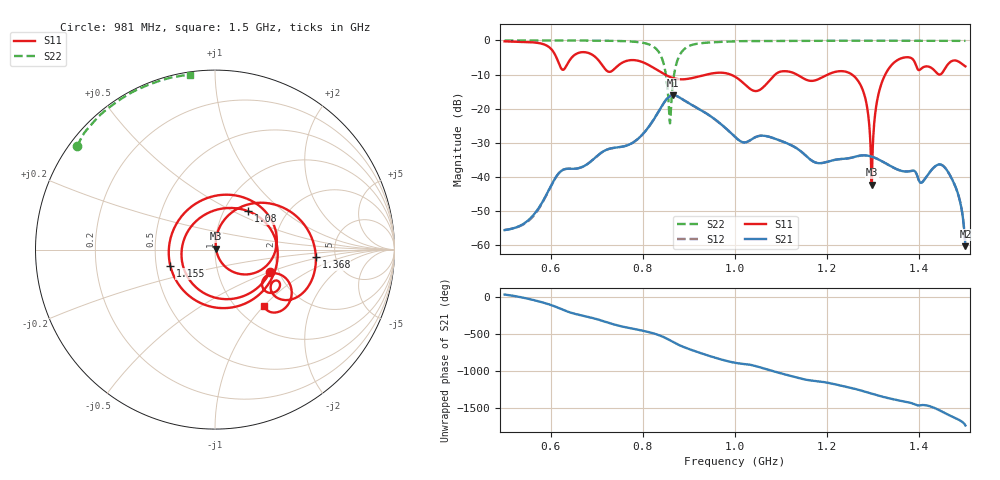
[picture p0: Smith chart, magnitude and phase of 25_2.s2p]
! TOUCHSTONE file generated by CST MICROWAVE STUDIO
! Date and time: Thu Feb 11 19:34:18 2021
! Project name: Scenario_1_Planar_Body_Tissue_Out_of_Line.cst
! Parameters = {L_HA=400; Ltissue=1000; MT=2.54; Rad_Dielectric=30; Rad_Lower=7.3; Rad_Upper=30; Wtissue=1000; a_HA=580; a_WG=246; b_HA=500; b_WG=121; c_HA=0; c_WG=187; d_feed=85; dx1=346; dy1=69.2; h_feed=15; h_lower=18; h_upper=40; hfat=3; hgap=25; hmuscle=50; hskin=1.5}
! Header version: 2018
! Port assignment regex: !\s*Touchstone port\s*([0-9]+)\s*=\s*(CST MWS port|CST DS port)\s*([0-9]+|Zmin|Zmax)\s*\(\"(.*)\"\)(\s*mode\s*([0-9]+))?.*
! Touchstone port assignment:
! Touchstone port 1 = CST MWS port 1 ("")
! Touchstone port 2 = CST MWS port 2 ("")
# GHz S DB R 50
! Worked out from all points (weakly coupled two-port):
!   1003 points, 500 MHz to 1.5 GHz, reference 50 ohm
!   highest |S21| = -16.04 dB at 866 MHz (marker M1); lowest = -60.2 dB at 1.5 GHz (marker M2)
!   lowest |S11| = -42.2 dB at 1.297 GHz (marker M3), VSWR 1.02, Z = 50.6 + j0.536 ohm
!   |S11| at or under -10 dB: 848.2 MHz to 937.8 MHz (89.62 MHz wide, 10 % of centre); 990.7 MHz to 1.087 GHz (96.41 MHz wide, 9.28 % of centre); 1.254 GHz to 1.326 GHz (72.03 MHz wide, 5.58 % of centre) (the widest 3 of 5)
!   |S22| runs from -24.3 to 0.0 dB; largest |S21 - S12| = 0.00011
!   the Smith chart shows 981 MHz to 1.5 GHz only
!   S11 on the Smith chart (normalised r, x): 981 MHz: 1.79, -0.50; 1.08 GHz: 1.29, +0.60; 1.155 GHz: 0.59, -0.12; 1.368 GHz: 3.52, -0.44; 1.5 GHz: 1.33, -1.01
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0.5  -0.27 -121.5  -55.51 34.8  -55.51 34.8  -0.01 151.1
0.667  -3.45 155.0  -37.12 111.2  -37.12 111.2  -0.04 138.4
0.694  -4.54 100.8  -34.63 71.4  -34.63 71.4  -0.06 135.5
0.716  -8.01 23.0  -32.34 30.2  -32.34 30.2  -0.09 132.8
0.74  -8.13 -99.3  -31.40 -15.4  -31.40 -15.4  -0.14 129.2
0.768  -5.88 175.5  -30.63 -56.4  -30.63 -56.4  -0.26 123.6
0.8  -6.38 103.8  -27.42 -96.5  -27.42 -96.5  -0.70 112.8
0.834  -8.89 24.1  -20.86 -154.2  -20.86 -154.2  -3.27 85.1
0.858  -10.64 -44.2  -16.38 136.0  -16.38 136.0  -23.31 -16.6
0.866  -11.03 -69.6  -16.04 108.5  -16.04 108.5  -11.73 -137.1
0.933  -10.16 88.7  -20.94 -55.5  -20.95 -55.5  -0.72 152.9
0.981  -9.61 -22.3  -25.83 -144.9  -25.84 -144.9  -0.36 143.1
1  -10.61 -67.0  -28.23 -171.5  -28.23 -171.5  -0.27 140.4
1.08  -10.98 49.4  -28.45 78.7  -28.45 78.7  -0.13 131.5
1.155  -11.54 -159.8  -33.89 -42.0  -33.89 -42.0  -0.11 125.2
1.167  -11.85 161.9  -35.22 -53.7  -35.22 -53.8  -0.10 124.2
1.262  -10.97 -23.2  -33.99 -167.9  -34.00 -167.9  -0.08 117.0
1.297  -42.23 43.2  -34.03 128.3  -34.03 128.3  -0.08 114.3
1.334  -8.19 41.7  -36.52 66.6  -36.52 66.6  -0.09 111.5
1.368  -4.98 -4.3  -38.35 22.8  -38.35 22.8  -0.09 108.9
1.455  -8.41 -21.0  -37.15 -132.9  -37.15 -132.9  -0.11 101.8
1.5  -7.59 -48.6  -60.23 58.0  -60.23 58.0  -0.13 98.0
